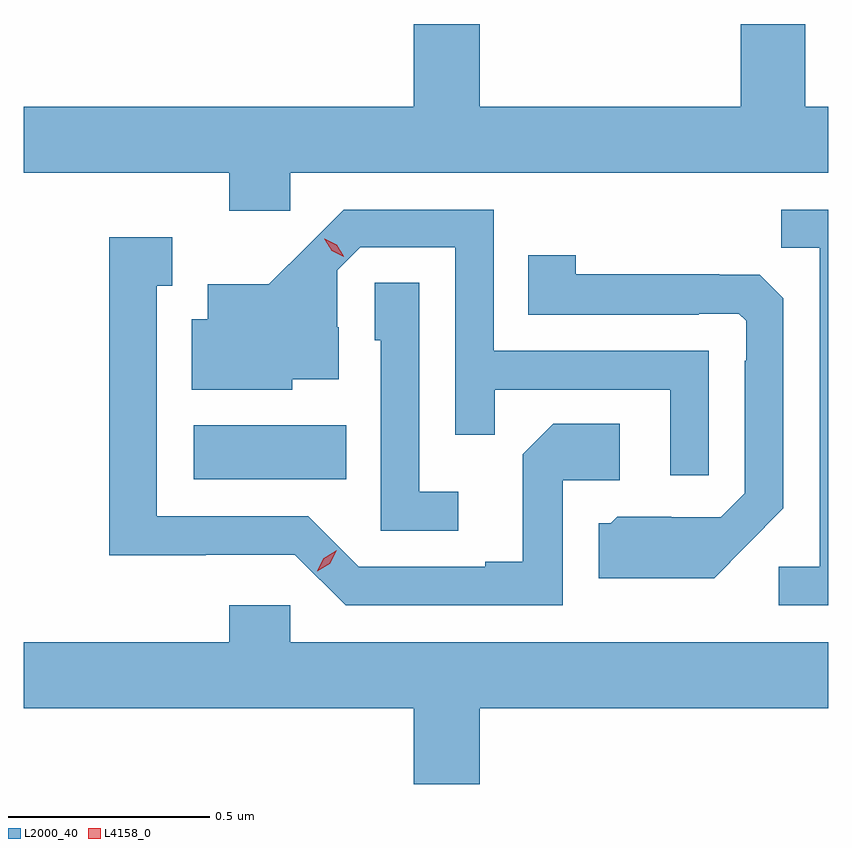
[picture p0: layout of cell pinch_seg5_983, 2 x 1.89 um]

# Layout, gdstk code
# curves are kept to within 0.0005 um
import gdstk
lib = gdstk.Library(unit=1e-6, precision=1e-09)
def R(c, l, rs):  # rectangles x0, y0, x1, y1
    for r in rs: c.add(gdstk.rectangle(r[:2], r[2:], *l))
def P(c, l, *ps):  # polygons
    for p in ps: c.add(gdstk.Polygon(p, *l))
L2000_40 = (2000, 40)
L4158_0 = (4158, 0)

pinch_seg5_983 = lib.new_cell('pinch_seg5_983')
R(pinch_seg5_983, L2000_40, [(715.908,894.626,716.288,894.76)])
P(pinch_seg5_983, L2000_40, [(716.148,895.388),(717.486,895.388),(717.486,895.552),(717.429,895.552),(717.429,895.758),(717.269,895.758),(717.269,895.552),(716.62,895.552),(716.62,895.758),(716.456,895.758),(716.456,895.552),(715.486,895.552),(715.486,895.388),(715.997,895.388),(715.997,895.293),(716.148,895.293)],
  [(717.189,894.945),(716.655,894.945),(716.655,895.296),(716.282,895.296),(716.095,895.111),(715.943,895.111),(715.943,895.024),(715.904,895.024),(715.904,894.848),(716.154,894.848),(716.154,894.875),(716.269,894.875),(716.269,895.004),(716.265,895.004),(716.265,895.146),(716.322,895.203),(716.559,895.203),(716.559,894.736),(716.657,894.736),(716.657,894.849),(717.093,894.849),(717.093,894.636),(717.189,894.636)],
  [(717.486,895.296),(717.37,895.296),(717.37,895.201),(717.465,895.201),(717.465,894.408),(717.363,894.408),(717.363,894.312),(717.486,894.312)],
  [(716.826,894.624),(716.968,894.624),(716.968,894.764),(716.803,894.764),(716.727,894.688),(716.727,894.421),(716.633,894.421),(716.633,894.408),(716.319,894.408),(716.193,894.534),(715.816,894.534),(715.816,895.107),(715.855,895.107),(715.855,895.228),(715.698,895.228),(715.698,894.437),(715.938,894.437),(715.938,894.438),(716.16,894.438),(716.286,894.312),(716.826,894.312)],
  [(717.283,894.461),(717.375,894.554),(717.375,895.076),(717.316,895.135),(717.215,895.135),(717.215,895.136),(716.859,895.136),(716.859,895.183),(716.74,895.183),(716.74,895.035),(717.164,895.035),(717.164,895.038),(717.264,895.038),(717.282,895.02),(717.282,894.92),(717.279,894.92),(717.279,894.591),(717.219,894.531),(717.096,894.531),(717.096,894.532),(716.962,894.532),(716.946,894.516),(716.915,894.516),(716.915,894.38),(717.203,894.38)],
  [(716.566,894.595),(716.469,894.595),(716.469,895.115),(716.358,895.115),(716.358,894.972),(716.373,894.972),(716.373,894.498),(716.566,894.498)],
  [(716.62,894.056),(717.486,894.056),(717.486,894.22),(716.148,894.22),(716.148,894.313),(715.997,894.313),(715.997,894.22),(715.486,894.22),(715.486,894.056),(716.456,894.056),(716.456,893.868),(716.62,893.868)])
P(pinch_seg5_983, L4158_0, [(716.282,895.179),(716.251,895.194),(716.233,895.224),(716.233,895.224),(716.234,895.224),(716.264,895.209),(716.282,895.18),(716.282,895.179)],
  [(716.215,894.397),(716.215,894.398),(716.232,894.43),(716.264,894.449),(716.264,894.449),(716.264,894.449),(716.247,894.416),(716.215,894.397)])

lib.write_gds('pinch_seg5_983.gds')
